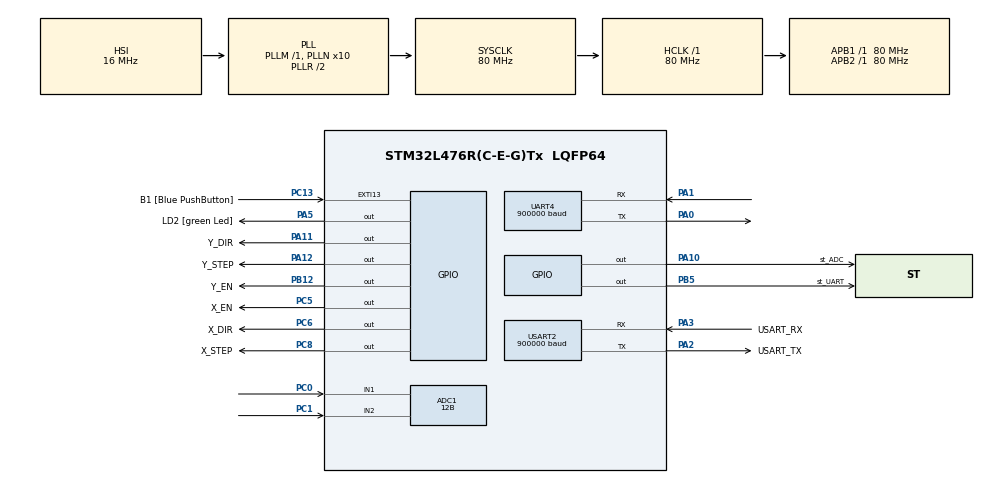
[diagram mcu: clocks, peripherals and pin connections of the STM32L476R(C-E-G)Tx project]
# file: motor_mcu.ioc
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ADC1.Channel-1\#ChannelRegularConversion=ADC_CHANNEL_1
ADC1.Channel-2\#ChannelRegularConversion=ADC_CHANNEL_2
ADC1.ClockPrescaler=ADC_CLOCK_SYNC_PCLK_DIV4
ADC1.ContinuousConvMode=DISABLE
ADC1.DMAContinuousRequests=DISABLE
ADC1.DiscontinuousConvMode=DISABLE
ADC1.EOCSelection=ADC_EOC_SEQ_CONV
ADC1.EnableRegularConversion=ENABLE
ADC1.ExternalTrigConv=ADC_SOFTWARE_START
ADC1.ExternalTrigConvEdge=ADC_EXTERNALTRIGCONVEDGE_NONE
ADC1.NbrOfConversion=2
ADC1.NbrOfConversionFlag=1
ADC1.OffsetNumber-1\#ChannelRegularConversion=ADC_OFFSET_NONE
ADC1.OffsetNumber-2\#ChannelRegularConversion=ADC_OFFSET_NONE
ADC1.Overrun=ADC_OVR_DATA_OVERWRITTEN
ADC1.OversamplingMode=ENABLE
ADC1.OversamplingStopReset=ADC_REGOVERSAMPLING_CONTINUED_MODE
ADC1.Rank-1\#ChannelRegularConversion=1
ADC1.Rank-2\#ChannelRegularConversion=2
ADC1.Ratio=ADC_OVERSAMPLING_RATIO_128
ADC1.Resolution=ADC_RESOLUTION_12B
ADC1.RightBitShift=ADC_RIGHTBITSHIFT_7
ADC1.SamplingTime-1\#ChannelRegularConversion=ADC_SAMPLETIME_640CYCLES_5
ADC1.SamplingTime-2\#ChannelRegularConversion=ADC_SAMPLETIME_640CYCLES_5
ADC1.master=1
Dma.ADC1.0.Direction=DMA_PERIPH_TO_MEMORY
Dma.ADC1.0.Instance=DMA1_Channel1
Dma.ADC1.0.MemDataAlignment=DMA_MDATAALIGN_WORD
Dma.ADC1.0.MemInc=DMA_MINC_ENABLE
Dma.ADC1.0.Mode=DMA_NORMAL
Dma.ADC1.0.PeriphDataAlignment=DMA_PDATAALIGN_WORD
Dma.ADC1.0.PeriphInc=DMA_PINC_DISABLE
Dma.ADC1.0.Priority=DMA_PRIORITY_LOW
Dma.Request0=ADC1
Mcu.Family=STM32L4
Mcu.Name=STM32L476R(C-E-G)Tx
Mcu.Package=LQFP64
NVIC.DMA1_Channel1_IRQn=true\:1\:0\:true\:false\:true\:false\:true\:true
NVIC.PriorityGroup=NVIC_PRIORITYGROUP_4
NVIC.TIM6_DAC_IRQn=true\:2\:0\:true\:false\:true\:true\:true\:true
NVIC.UART4_IRQn=true\:0\:0\:true\:false\:true\:true\:true\:true
PA0.Mode=Asynchronous
PA0.Signal=UART4_TX
PA1.Mode=Asynchronous
PA1.Signal=UART4_RX
PA10.GPIO_Label=st_ADC
PA10.GPIO_Speed=GPIO_SPEED_FREQ_HIGH
PA10.Signal=GPIO_Output
PA11.GPIO_Label=Y_DIR
PA11.GPIO_Speed=GPIO_SPEED_FREQ_HIGH
PA11.Signal=GPIO_Output
PA12.GPIO_Label=Y_STEP
PA12.GPIO_Speed=GPIO_SPEED_FREQ_HIGH
PA12.Signal=GPIO_Output
PA13\ (JTMS-SWDIO).GPIO_Label=TMS
PA13\ (JTMS-SWDIO).Mode=Serial_Wire
PA13\ (JTMS-SWDIO).Signal=SYS_JTMS-SWDIO
PA14\ (JTCK-SWCLK).GPIO_Label=TCK
PA14\ (JTCK-SWCLK).Mode=Serial_Wire
PA14\ (JTCK-SWCLK).Signal=SYS_JTCK-SWCLK
PA2.GPIO_Label=USART_TX
PA2.GPIO_Mode=GPIO_MODE_AF_PP
PA2.GPIO_PuPd=GPIO_NOPULL
PA2.GPIO_Speed=GPIO_SPEED_FREQ_VERY_HIGH
PA2.Mode=Asynchronous
PA2.Signal=USART2_TX
PA3.GPIO_Label=USART_RX
PA3.GPIO_Mode=GPIO_MODE_AF_PP
PA3.GPIO_PuPd=GPIO_NOPULL
PA3.GPIO_Speed=GPIO_SPEED_FREQ_VERY_HIGH
PA3.Mode=Asynchronous
PA3.Signal=USART2_RX
PA5.GPIO_Label=LD2 [green Led]
PA5.GPIO_ModeDefaultOutputPP=GPIO_MODE_OUTPUT_PP
PA5.GPIO_PuPd=GPIO_NOPULL
PA5.GPIO_Speed=GPIO_SPEED_FREQ_LOW
PA5.Signal=GPIO_Output
PB12.GPIO_Label=Y_EN
PB12.GPIO_Speed=GPIO_SPEED_FREQ_HIGH
PB12.PinState=GPIO_PIN_SET
PB12.Signal=GPIO_Output
PB5.GPIO_Label=st_UART
PB5.GPIO_Speed=GPIO_SPEED_FREQ_HIGH
PB5.Signal=GPIO_Output
PC0.Signal=ADCx_IN1
PC1.Signal=ADCx_IN2
PC13.GPIO_Label=B1 [Blue PushButton]
PC13.GPIO_ModeDefaultEXTI=GPIO_MODE_IT_FALLING
PC13.GPIO_PuPd=GPIO_NOPULL
PC13.Signal=GPXTI13
PC14-OSC32_IN\ (PC14).Mode=LSE-External-Oscillator
PC14-OSC32_IN\ (PC14).Signal=RCC_OSC32_IN
PC15-OSC32_OUT\ (PC15).Mode=LSE-External-Oscillator
PC15-OSC32_OUT\ (PC15).Signal=RCC_OSC32_OUT
PC5.GPIO_Label=X_EN
PC5.GPIO_Speed=GPIO_SPEED_FREQ_HIGH
PC5.PinState=GPIO_PIN_SET
PC5.Signal=GPIO_Output
PC6.GPIO_Label=X_DIR
PC6.GPIO_Speed=GPIO_SPEED_FREQ_HIGH
PC6.Signal=GPIO_Output
PC8.GPIO_Label=X_STEP
PC8.GPIO_Speed=GPIO_SPEED_FREQ_HIGH
PC8.Signal=GPIO_Output
PH0-OSC_IN\ (PH0).Signal=RCC_OSC_IN
PH1-OSC_OUT\ (PH1).Signal=RCC_OSC_OUT
ProjectManager.HeapSize=0x200
ProjectManager.StackSize=0x400
ProjectManager.TargetToolchain=STM32CubeIDE
RCC.ADCFreq_Value=64000000
RCC.AHBFreq_Value=80000000
RCC.APB1Freq_Value=80000000
RCC.APB1TimFreq_Value=80000000
RCC.APB2Freq_Value=80000000
RCC.APB2TimFreq_Value=80000000
RCC.CortexFreq_Value=80000000
RCC.HCLKFreq_Value=80000000
RCC.HSE_VALUE=8000000
RCC.HSI_VALUE=16000000
RCC.MSI_VALUE=4000000
RCC.PLLN=10
RCC.PLLSourceVirtual=RCC_PLLSOURCE_HSI
RCC.PREFETCH_ENABLE=1
RCC.SYSCLKFreq_VALUE=80000000
RCC.SYSCLKSource=RCC_SYSCLKSOURCE_PLLCLK
RCC.USBFreq_Value=64000000
RCC.VCOOutputFreq_Value=160000000
SH.ADCx_IN1.0=ADC1_IN1,IN1-Single-Ended
SH.ADCx_IN2.0=ADC1_IN2,IN2-Single-Ended
TIM6.Period=39
TIM6.Prescaler=39
UART4.BaudRate=900000
USART2.BaudRate=900000
USART2.VirtualMode-Asynchronous=VM_ASYNC
VP_TIM6_VS_ClockSourceINT.Mode=Enable_Timer
board=NUCLEO-L476RG

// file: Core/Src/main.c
/* USER CODE BEGIN Header */
/**
  ******************************************************************************
  * @file           : main.c
  * @brief          : Main program body
  ******************************************************************************
  * @attention
  *
  * Copyright (c) 2023 STMicroelectronics.
  * All rights reserved.
  *
  * This software is licensed under terms that can be found in the LICENSE file
  * in the root directory of this software component.
  * If no LICENSE file comes with this software, it is provided AS-IS.
  *
  ******************************************************************************
  */
/* USER CODE END Header */
#include "main.h"

/* USER CODE BEGIN Includes */
#include "stepper_motor.h"

/* USER CODE END Includes */

ADC_HandleTypeDef hadc1;
DMA_HandleTypeDef hdma_adc1;

TIM_HandleTypeDef htim6;

UART_HandleTypeDef huart4;
UART_HandleTypeDef huart2;

void SystemClock_Config(void);
static void MX_GPIO_Init(void);
static void MX_DMA_Init(void);
static void MX_USART2_UART_Init(void);
static void MX_UART4_Init(void);
static void MX_ADC1_Init(void);
static void MX_TIM6_Init(void);

/* USER CODE BEGIN 0 */

//-------------------------------------------------
//          global variables/defines/enums
//-------------------------------------------------

uint32_t adc_out[2] = {993,1241};

float  volt_dist[2] = {0.8,1.0};

motor_status_struct OUT_motor_status = {0};
motor_status_struct IN_motor_status  = {0};

// Global variables

const float K = 0.0372;      // [mm/imp]
const int Max_Freq_Div  = 5;  // [-] ~200[mm/s]
const int Min_Freq_Div  = 1000;  // [-] ~200[mm/s]
const int Max_Freq      = 25000;  // [Hz] ~200[mm/s]
const float Max_V_X = 200.0;
const float Min_V_X = 0.0;
const float Max_V_Y = 200.0;
const float Min_V_Y = 0.0;
const float Max_Position_X = 175.0;
const float Max_Position_Y =  75.0;

//    X axis:
int x_en = DISABLED;
int x_freq_div = Min_Freq_Div;
int x_step_zad = 0;
int x_step_akt = 0;
float x_v_zad = Min_V_X;
float x_v_akt = Min_V_X;
float x_a_zad;
float x_a_akt = 200.0;
int x_dir_zad = DIR_MINUS;
int x_dir_akt = DIR_MINUS;
int x_hold = 1;
float adc_pos_x = 0.0;

//    Y axis:
int y_en = DISABLED;
int y_freq_div = Min_Freq_Div;
int y_step_zad = 0;
int y_step_akt = 0;
float y_v_zad  = Min_V_Y;
float y_v_akt  = Min_V_Y;
float y_a_zad;
float y_a_akt = 400.0;
int y_dir_zad = DIR_MINUS;
int y_dir_akt = DIR_MINUS;
int y_hold = 1;
float adc_pos_y = 0.0;
/* USER CODE END 0 */

int main(void)
{

  /* MCU Configuration--------------------------------------------------------*/

  /* Reset of all peripherals, Initializes the Flash interface and the Systick. */
  HAL_Init();

  /* Configure the system clock */
  SystemClock_Config();

  /* Initialize all configured peripherals */
  MX_GPIO_Init();
  MX_DMA_Init();
  MX_USART2_UART_Init();
  MX_UART4_Init();
  MX_ADC1_Init();
  MX_TIM6_Init();
  /* USER CODE BEGIN 2 */
  HAL_Delay(500);
  //HAL_ADCEx_Calibration_Start(&hadc1, ADC_SINGLE_ENDED);
  while(HAL_GPIO_ReadPin(B1_GPIO_Port, B1_Pin) == GPIO_PIN_SET);

  HAL_TIM_Base_Start_IT(&htim6);

  HAL_UART_Receive_IT(&huart4, (uint8_t*)&IN_motor_status, sizeof(motor_status_struct));

  /* USER CODE END 2 */

  /* Infinite loop */
  while (1)
  {

  }
}

void SystemClock_Config(void)
{
  RCC_OscInitTypeDef RCC_OscInitStruct = {0};
  RCC_ClkInitTypeDef RCC_ClkInitStruct = {0};

  /** Configure the main internal regulator output voltage
  */
  if (HAL_PWREx_ControlVoltageScaling(PWR_REGULATOR_VOLTAGE_SCALE1) != HAL_OK)
  {
    Error_Handler();
  }

  /** Initializes the RCC Oscillators according to the specified parameters
  * in the RCC_OscInitTypeDef structure.
  */
  RCC_OscInitStruct.OscillatorType = RCC_OSCILLATORTYPE_HSI;
  RCC_OscInitStruct.HSIState = RCC_HSI_ON;
  RCC_OscInitStruct.HSICalibrationValue = RCC_HSICALIBRATION_DEFAULT;
  RCC_OscInitStruct.PLL.PLLState = RCC_PLL_ON;
  RCC_OscInitStruct.PLL.PLLSource = RCC_PLLSOURCE_HSI;
  RCC_OscInitStruct.PLL.PLLM = 1;
  RCC_OscInitStruct.PLL.PLLN = 10;
  RCC_OscInitStruct.PLL.PLLP = RCC_PLLP_DIV7;
  RCC_OscInitStruct.PLL.PLLQ = RCC_PLLQ_DIV2;
  RCC_OscInitStruct.PLL.PLLR = RCC_PLLR_DIV2;
  if (HAL_RCC_OscConfig(&RCC_OscInitStruct) != HAL_OK)
  {
    Error_Handler();
  }

  /** Initializes the CPU, AHB and APB buses clocks
  */
  RCC_ClkInitStruct.ClockType = RCC_CLOCKTYPE_HCLK|RCC_CLOCKTYPE_SYSCLK
                              |RCC_CLOCKTYPE_PCLK1|RCC_CLOCKTYPE_PCLK2;
  RCC_ClkInitStruct.SYSCLKSource = RCC_SYSCLKSOURCE_PLLCLK;
  RCC_ClkInitStruct.AHBCLKDivider = RCC_SYSCLK_DIV1;
  RCC_ClkInitStruct.APB1CLKDivider = RCC_HCLK_DIV1;
  RCC_ClkInitStruct.APB2CLKDivider = RCC_HCLK_DIV1;

  if (HAL_RCC_ClockConfig(&RCC_ClkInitStruct, FLASH_LATENCY_4) != HAL_OK)
  {
    Error_Handler();
  }
}

static void MX_ADC1_Init(void)
{

  ADC_MultiModeTypeDef multimode = {0};
  ADC_ChannelConfTypeDef sConfig = {0};

  /** Common config
  */
  hadc1.Instance = ADC1;
  hadc1.Init.ClockPrescaler = ADC_CLOCK_SYNC_PCLK_DIV4;
  hadc1.Init.Resolution = ADC_RESOLUTION_12B;
  hadc1.Init.DataAlign = ADC_DATAALIGN_RIGHT;
  hadc1.Init.ScanConvMode = ADC_SCAN_ENABLE;
  hadc1.Init.EOCSelection = ADC_EOC_SEQ_CONV;
  hadc1.Init.LowPowerAutoWait = DISABLE;
  hadc1.Init.ContinuousConvMode = DISABLE;
  hadc1.Init.NbrOfConversion = 2;
  hadc1.Init.DiscontinuousConvMode = DISABLE;
  hadc1.Init.ExternalTrigConv = ADC_SOFTWARE_START;
  hadc1.Init.ExternalTrigConvEdge = ADC_EXTERNALTRIGCONVEDGE_NONE;
  hadc1.Init.DMAContinuousRequests = DISABLE;
  hadc1.Init.Overrun = ADC_OVR_DATA_OVERWRITTEN;
  hadc1.Init.OversamplingMode = ENABLE;
  hadc1.Init.Oversampling.Ratio = ADC_OVERSAMPLING_RATIO_128;
  hadc1.Init.Oversampling.RightBitShift = ADC_RIGHTBITSHIFT_7;
  hadc1.Init.Oversampling.TriggeredMode = ADC_TRIGGEREDMODE_SINGLE_TRIGGER;
  hadc1.Init.Oversampling.OversamplingStopReset = ADC_REGOVERSAMPLING_CONTINUED_MODE;
  if (HAL_ADC_Init(&hadc1) != HAL_OK)
  {
    Error_Handler();
  }

  /** Configure the ADC multi-mode
  */
  multimode.Mode = ADC_MODE_INDEPENDENT;
  if (HAL_ADCEx_MultiModeConfigChannel(&hadc1, &multimode) != HAL_OK)
  {
    Error_Handler();
  }

  /** Configure Regular Channel
  */
  sConfig.Channel = ADC_CHANNEL_1;
  sConfig.Rank = ADC_REGULAR_RANK_1;
  sConfig.SamplingTime = ADC_SAMPLETIME_640CYCLES_5;
  sConfig.SingleDiff = ADC_SINGLE_ENDED;
  sConfig.OffsetNumber = ADC_OFFSET_NONE;
  sConfig.Offset = 0;
  if (HAL_ADC_ConfigChannel(&hadc1, &sConfig) != HAL_OK)
  {
    Error_Handler();
  }

  /** Configure Regular Channel
  */
  sConfig.Channel = ADC_CHANNEL_2;
  sConfig.Rank = ADC_REGULAR_RANK_2;
  if (HAL_ADC_ConfigChannel(&hadc1, &sConfig) != HAL_OK)
  {
    Error_Handler();
  }

}

static void MX_TIM6_Init(void)
{

  TIM_MasterConfigTypeDef sMasterConfig = {0};

  htim6.Instance = TIM6;
  htim6.Init.Prescaler = 39;
  htim6.Init.CounterMode = TIM_COUNTERMODE_UP;
  htim6.Init.Period = 39;
  htim6.Init.AutoReloadPreload = TIM_AUTORELOAD_PRELOAD_DISABLE;
  if (HAL_TIM_Base_Init(&htim6) != HAL_OK)
  {
    Error_Handler();
  }
  sMasterConfig.MasterOutputTrigger = TIM_TRGO_RESET;
  sMasterConfig.MasterSlaveMode = TIM_MASTERSLAVEMODE_DISABLE;
  if (HAL_TIMEx_MasterConfigSynchronization(&htim6, &sMasterConfig) != HAL_OK)
  {
    Error_Handler();
  }

}

static void MX_UART4_Init(void)
{

  huart4.Instance = UART4;
  huart4.Init.BaudRate = 900000;
  huart4.Init.WordLength = UART_WORDLENGTH_8B;
  huart4.Init.StopBits = UART_STOPBITS_1;
  huart4.Init.Parity = UART_PARITY_NONE;
  huart4.Init.Mode = UART_MODE_TX_RX;
  huart4.Init.HwFlowCtl = UART_HWCONTROL_NONE;
  huart4.Init.OverSampling = UART_OVERSAMPLING_16;
  huart4.Init.OneBitSampling = UART_ONE_BIT_SAMPLE_DISABLE;
  huart4.AdvancedInit.AdvFeatureInit = UART_ADVFEATURE_NO_INIT;
  if (HAL_UART_Init(&huart4) != HAL_OK)
  {
    Error_Handler();
  }

}

static void MX_USART2_UART_Init(void)
{

  huart2.Instance = USART2;
  huart2.Init.BaudRate = 900000;
  huart2.Init.WordLength = UART_WORDLENGTH_8B;
  huart2.Init.StopBits = UART_STOPBITS_1;
  huart2.Init.Parity = UART_PARITY_NONE;
  huart2.Init.Mode = UART_MODE_TX_RX;
  huart2.Init.HwFlowCtl = UART_HWCONTROL_NONE;
  huart2.Init.OverSampling = UART_OVERSAMPLING_16;
  huart2.Init.OneBitSampling = UART_ONE_BIT_SAMPLE_DISABLE;
  huart2.AdvancedInit.AdvFeatureInit = UART_ADVFEATURE_NO_INIT;
  if (HAL_UART_Init(&huart2) != HAL_OK)
  {
    Error_Handler();
  }

}

static void MX_DMA_Init(void)
{

  /* DMA controller clock enable */
  __HAL_RCC_DMA1_CLK_ENABLE();

  /* DMA interrupt init */
  /* DMA1_Channel1_IRQn interrupt configuration */
  HAL_NVIC_SetPriority(DMA1_Channel1_IRQn, 1, 0);
  HAL_NVIC_EnableIRQ(DMA1_Channel1_IRQn);

}

static void MX_GPIO_Init(void)
{
  GPIO_InitTypeDef GPIO_InitStruct = {0};

  /* GPIO Ports Clock Enable */
  __HAL_RCC_GPIOC_CLK_ENABLE();
  __HAL_RCC_GPIOH_CLK_ENABLE();
  __HAL_RCC_GPIOA_CLK_ENABLE();
  __HAL_RCC_GPIOB_CLK_ENABLE();

  /*Configure GPIO pin Output Level */
  HAL_GPIO_WritePin(GPIOA, LD2_Pin|st_ADC_Pin|Y_DIR_Pin|Y_STEP_Pin, GPIO_PIN_RESET);

  /*Configure GPIO pin Output Level */
  HAL_GPIO_WritePin(X_EN_GPIO_Port, X_EN_Pin, GPIO_PIN_SET);

  /*Configure GPIO pin Output Level */
  HAL_GPIO_WritePin(Y_EN_GPIO_Port, Y_EN_Pin, GPIO_PIN_SET);

  /*Configure GPIO pin Output Level */
  HAL_GPIO_WritePin(GPIOC, X_DIR_Pin|X_STEP_Pin, GPIO_PIN_RESET);

  /*Configure GPIO pin Output Level */
  HAL_GPIO_WritePin(st_UART_GPIO_Port, st_UART_Pin, GPIO_PIN_RESET);

  /*Configure GPIO pin : B1_Pin */
  GPIO_InitStruct.Pin = B1_Pin;
  GPIO_InitStruct.Mode = GPIO_MODE_IT_FALLING;
  GPIO_InitStruct.Pull = GPIO_NOPULL;
  HAL_GPIO_Init(B1_GPIO_Port, &GPIO_InitStruct);

  /*Configure GPIO pin : LD2_Pin */
  GPIO_InitStruct.Pin = LD2_Pin;
  GPIO_InitStruct.Mode = GPIO_MODE_OUTPUT_PP;
  GPIO_InitStruct.Pull = GPIO_NOPULL;
  GPIO_InitStruct.Speed = GPIO_SPEED_FREQ_LOW;
  HAL_GPIO_Init(LD2_GPIO_Port, &GPIO_InitStruct);

  /*Configure GPIO pins : X_EN_Pin X_DIR_Pin X_STEP_Pin */
  GPIO_InitStruct.Pin = X_EN_Pin|X_DIR_Pin|X_STEP_Pin;
  GPIO_InitStruct.Mode = GPIO_MODE_OUTPUT_PP;
  GPIO_InitStruct.Pull = GPIO_NOPULL;
  GPIO_InitStruct.Speed = GPIO_SPEED_FREQ_HIGH;
  HAL_GPIO_Init(GPIOC, &GPIO_InitStruct);

  /*Configure GPIO pins : Y_EN_Pin st_UART_Pin */
  GPIO_InitStruct.Pin = Y_EN_Pin|st_UART_Pin;
  GPIO_InitStruct.Mode = GPIO_MODE_OUTPUT_PP;
  GPIO_InitStruct.Pull = GPIO_NOPULL;
  GPIO_InitStruct.Speed = GPIO_SPEED_FREQ_HIGH;
  HAL_GPIO_Init(GPIOB, &GPIO_InitStruct);

  /*Configure GPIO pins : st_ADC_Pin Y_DIR_Pin Y_STEP_Pin */
  GPIO_InitStruct.Pin = st_ADC_Pin|Y_DIR_Pin|Y_STEP_Pin;
  GPIO_InitStruct.Mode = GPIO_MODE_OUTPUT_PP;
  GPIO_InitStruct.Pull = GPIO_NOPULL;
  GPIO_InitStruct.Speed = GPIO_SPEED_FREQ_HIGH;
  HAL_GPIO_Init(GPIOA, &GPIO_InitStruct);

}

/* USER CODE BEGIN 4 */

int __io_putchar(int ch)
{
//    if (ch == '\n') {
//        uint8_t ch2 = '\r';
//        HAL_UART_Transmit(&huart2, &ch2, 1, HAL_MAX_DELAY);
//    }
//
//    HAL_UART_Transmit(&huart2, (uint8_t*)&ch, 1, HAL_MAX_DELAY);
//    return 1;
    ITM_SendChar(ch);
    return(ch);
}

/* USER CODE END 4 */

void Error_Handler(void)
{
  __disable_irq();
  while (1)
  {
  }
}
